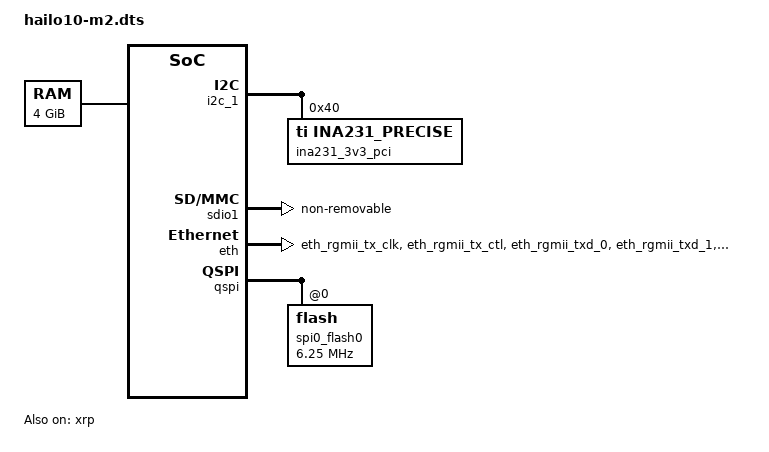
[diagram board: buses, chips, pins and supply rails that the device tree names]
// SPDX-License-Identifier:     GPL-2.0
/*
 * Copyright (c) 2019-2024 Hailo Technologies Ltd. All rights reserved.
 */

/dts-v1/;
#include "hailo10-base.dtsi"
#include <dt-bindings/gpio/gpio.h>

/ {
    memory {
        device_type = "memory";
        reg = <0x00000000 0x80000000 0x00000001 0x00000000>;
    };
};

&i2c_1 {
    status = "ok";
    ina231_3v3_pci: 3v3_pci@40 {
        compatible = "ti,ina231_precise";
        reg = <0x40>;
        shunt-resistor = <10000>;
        max-current = <2500>;
    };

    regulator_0p8v: regulator-0p8v@43 {
        status = "disabled";
        compatible = "ti,tps62872";
        reg = <0x43>;
        regulator-name = "+0.8V";
        regulator-min-microvolt = <400000>;
        regulator-max-microvolt = <1037500>;
        regulator-initial-mode = <2>;
    };

    /* 64 KiB EEPROM  */
    eeprom: eeprom-atmel-24cs64@30 {
        status = "disabled";
        compatible = "atmel,24cs64";
        reg = <0x30>;
    };
};

&xrp {
    status = "okay";
};

&xrp_reserved {
    status = "okay";
};

&sdio1 {
    status = "okay";
    non-removable;
    phy-config {
		card-is-emmc = <0x1>;
        	cmd-pad-values = <0x2 0x2 0x1 0x1>; // txslew_ctrl_n, txslew_ctrl_p, weakpull_enable, rxsel
        	dat-pad-values = <0x2 0x2 0x1 0x1>; // txslew_ctrl_n, txslew_ctrl_p, weakpull_enable, rxsel
        	rst-pad-values = <0x2 0x2 0x1 0x1>; // txslew_ctrl_n, txslew_ctrl_p, weakpull_enable, rxsel
        	clk-pad-values = <0x2 0x2 0x0 0x0>; // txslew_ctrl_n, txslew_ctrl_p, weakpull_enable, rxsel
        	sdclkdl-cnfg = <0x0 0x32>; //extdly_en, cckdl_dc
        	drive-strength = <0xC 0xC>; //pad_sp, pad_sn
        };
};

&eth {
    status = "ok";
    pinctrl-names = "default";
    pinctrl-0 = <&pinctrl_eth>;
};

&qspi {
    status = "ok";

    spi0_flash0: flash@0 {
        /* values for MT25QU01G */
        spi-max-frequency = <6250000>; /* 90Mhz in DTR, 166Mhz in STR */
        cdns,read-delay = <7>;
        cdns,tshsl-ns = <30>;
        cdns,tsd2d-ns = <30>;
        cdns,tchsh-ns = <5>;
        cdns,tslch-ns = <3>;
    };
};

&pinctrl {

    pinctrl_eth: eth {
        pins = "eth_rgmii_tx_clk",
               "eth_rgmii_tx_ctl",
               "eth_rgmii_txd_0",
               "eth_rgmii_txd_1",
               "eth_rgmii_txd_2",
               "eth_rgmii_txd_3";
        drive-strength = <2>;
    };
};

&gpio0 {
    gpio-ranges = <&pinctrl 0 0 16>;

    gpio-line-names =
        "gpio_in_out_0",
        "gpio_in_out_1",
        "gpio_in_out_2",
        "gpio_in_out_3",
        "gpio_in_out_4",
        "ina_alert_n",
        "gpio_in_out_6",
        "gpio_in_out_7",
        "gpio_in_out_8",
        "sdio1_reset", /* Currently not connected */
        "rmii_rst_n",
        "gpio_in_out_11",
        "gpio_in_out_12",
        "gpio_in_out_13",
        "gpio_in_out_14",
        "gpio_in_out_15";
};

&gpio1 {
    gpio-ranges = <&pinctrl 0 16 16>;

    gpio-line-names =
        "gpio_in_out_16",
        "gpio_in_out_17",
        "gpio_in_out_18",
        "gpio_in_out_19",
        "gpio_in_out_20",
        "gpio_in_out_21",
        "gpio_in_out_22",
        "gpio_in_out_23",
        "gpio_in_out_24",
        "gpio_in_out_25",
        "gpio_in_out_26",
        "gpio_in_out_27",
        "gpio_in_out_28",
        "gpio_in_out_29",
        "gpio_in_out_30",
        "gpio_in_out_31";
};
